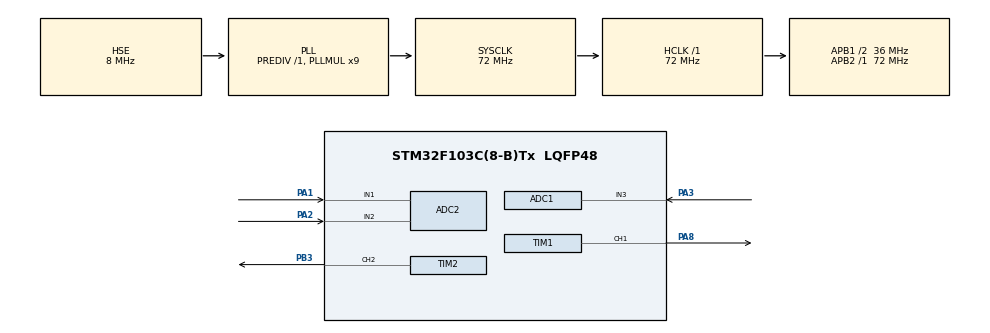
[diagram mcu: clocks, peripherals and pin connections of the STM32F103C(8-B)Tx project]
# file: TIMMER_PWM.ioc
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ADC1.Channel-1\#ChannelRegularConversion=ADC_CHANNEL_3
ADC1.ContinuousConvMode=ENABLE
ADC1.NbrOfConversionFlag=1
ADC1.Rank-1\#ChannelRegularConversion=1
ADC1.SamplingTime-1\#ChannelRegularConversion=ADC_SAMPLETIME_1CYCLE_5
ADC1.master=1
ADC2.Channel-1\#ChannelRegularConversion=ADC_CHANNEL_1
ADC2.ContinuousConvMode=ENABLE
ADC2.NbrOfConversionFlag=1
ADC2.Rank-1\#ChannelRegularConversion=1
ADC2.SamplingTime-1\#ChannelRegularConversion=ADC_SAMPLETIME_1CYCLE_5
Mcu.Family=STM32F1
Mcu.Name=STM32F103C(8-B)Tx
Mcu.Package=LQFP48
NVIC.ADC1_2_IRQn=true\:0\:0\:false\:false\:true\:true\:true\:true
NVIC.PriorityGroup=NVIC_PRIORITYGROUP_4
NVIC.TIM1_UP_IRQn=true\:0\:0\:false\:false\:true\:true\:true\:true
NVIC.TIM2_IRQn=true\:0\:0\:false\:false\:true\:true\:true\:true
PA1.Signal=ADCx_IN1
PA13.Mode=Serial_Wire
PA13.Signal=SYS_JTMS-SWDIO
PA14.Mode=Serial_Wire
PA14.Signal=SYS_JTCK-SWCLK
PA2.Signal=ADCx_IN2
PA3.Signal=ADCx_IN3
PA8.Signal=S_TIM1_CH1
PB3.Signal=S_TIM2_CH2
PD0-OSC_IN.Mode=HSE-External-Oscillator
PD0-OSC_IN.Signal=RCC_OSC_IN
PD1-OSC_OUT.Mode=HSE-External-Oscillator
PD1-OSC_OUT.Signal=RCC_OSC_OUT
ProjectManager.HeapSize=0x200
ProjectManager.StackSize=0x400
ProjectManager.TargetToolchain=STM32CubeIDE
RCC.AHBFreq_Value=72000000
RCC.APB1CLKDivider=RCC_HCLK_DIV2
RCC.APB1Freq_Value=36000000
RCC.APB1TimFreq_Value=72000000
RCC.APB2Freq_Value=72000000
RCC.APB2TimFreq_Value=72000000
RCC.HCLKFreq_Value=72000000
RCC.PLLMUL=RCC_PLL_MUL9
RCC.PLLSourceVirtual=RCC_PLLSOURCE_HSE
RCC.SYSCLKFreq_VALUE=72000000
RCC.SYSCLKSource=RCC_SYSCLKSOURCE_PLLCLK
RCC.USBFreq_Value=72000000
SH.ADCx_IN1.0=ADC2_IN1,IN1
SH.ADCx_IN2.0=ADC2_IN2,IN2
SH.ADCx_IN3.0=ADC1_IN3,IN3
SH.S_TIM1_CH1.0=TIM1_CH1,PWM Generation1 CH1
SH.S_TIM2_CH2.0=TIM2_CH2,PWM Generation2 CH2
TIM1.AutoReloadPreload=TIM_AUTORELOAD_PRELOAD_ENABLE
TIM1.Channel-PWM\ Generation1\ CH1=TIM_CHANNEL_1
TIM1.OC1Preload_PWM=DISABLE
TIM1.Period=59999
TIM2.AutoReloadPreload=TIM_AUTORELOAD_PRELOAD_ENABLE
TIM2.Channel-PWM\ Generation2\ CH2=TIM_CHANNEL_2
TIM2.OC2Preload_PWM=DISABLE
TIM2.Period=47999
VP_TIM1_VS_ClockSourceINT.Mode=Internal
VP_TIM2_VS_ClockSourceINT.Mode=Internal
board=custom

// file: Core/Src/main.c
/* USER CODE BEGIN Header */
/**
  ******************************************************************************
  * @file           : main.c
  * @brief          : Main program body
  ******************************************************************************
  * @attention
  *
  * Copyright (c) 2022 STMicroelectronics.
  * All rights reserved.
  *
  * This software is licensed under terms that can be found in the LICENSE file
  * in the root directory of this software component.
  * If no LICENSE file comes with this software, it is provided AS-IS.
  *
  ******************************************************************************
  */
/* USER CODE END Header */
#include "main.h"

 ADC_HandleTypeDef hadc1;
ADC_HandleTypeDef hadc2;

TIM_HandleTypeDef htim1;
TIM_HandleTypeDef htim2;

void SystemClock_Config(void);
static void MX_GPIO_Init(void);
static void MX_TIM1_Init(void);
static void MX_TIM2_Init(void);
static void MX_ADC1_Init(void);
static void MX_ADC2_Init(void);

int main(void)
{

  /* MCU Configuration--------------------------------------------------------*/

  /* Reset of all peripherals, Initializes the Flash interface and the Systick. */
  HAL_Init();

  /* Configure the system clock */
  SystemClock_Config();

  /* Initialize all configured peripherals */
  MX_GPIO_Init();
  MX_TIM1_Init();
  MX_TIM2_Init();
  MX_ADC1_Init();
  MX_ADC2_Init();
  /* USER CODE BEGIN 2 */
	uint16_t adc1;
	uint16_t adc2;
	HAL_ADCEx_Calibration_Start(&hadc1);
	HAL_ADC_Start(&hadc1);
	HAL_ADCEx_Calibration_Start(&hadc2);
	HAL_ADC_Start(&hadc2);

  HAL_TIM_Base_Start_IT(&htim1);
  HAL_TIM_Base_Start_IT(&htim2);
  HAL_TIM_PWM_Start(&htim1, TIM_CHANNEL_1);
  HAL_TIM_PWM_Start(&htim2, TIM_CHANNEL_2);

  /* USER CODE END 2 */

  /* Infinite loop */
  while (1)
  {
		adc1 = HAL_ADC_GetValue(&hadc1);
		float cicle1 = (float) adc1 * 1200 / 4095;
		float cicle_show;

		uint32_t p_entera;
		char str_entera[6];
		p_entera = (uint16_t) cicle1;

		adc1 = HAL_ADC_GetValue(&hadc2);
		float cicle2 = (float) adc2 * 1500 / 4095;

		HAL_Delay(1000);
  }
}

void SystemClock_Config(void)
{
  RCC_OscInitTypeDef RCC_OscInitStruct = {0};
  RCC_ClkInitTypeDef RCC_ClkInitStruct = {0};
  RCC_PeriphCLKInitTypeDef PeriphClkInit = {0};

  /** Initializes the RCC Oscillators according to the specified parameters
  * in the RCC_OscInitTypeDef structure.
  */
  RCC_OscInitStruct.OscillatorType = RCC_OSCILLATORTYPE_HSE;
  RCC_OscInitStruct.HSEState = RCC_HSE_ON;
  RCC_OscInitStruct.HSEPredivValue = RCC_HSE_PREDIV_DIV1;
  RCC_OscInitStruct.HSIState = RCC_HSI_ON;
  RCC_OscInitStruct.PLL.PLLState = RCC_PLL_ON;
  RCC_OscInitStruct.PLL.PLLSource = RCC_PLLSOURCE_HSE;
  RCC_OscInitStruct.PLL.PLLMUL = RCC_PLL_MUL9;
  if (HAL_RCC_OscConfig(&RCC_OscInitStruct) != HAL_OK)
  {
    Error_Handler();
  }

  /** Initializes the CPU, AHB and APB buses clocks
  */
  RCC_ClkInitStruct.ClockType = RCC_CLOCKTYPE_HCLK|RCC_CLOCKTYPE_SYSCLK
                              |RCC_CLOCKTYPE_PCLK1|RCC_CLOCKTYPE_PCLK2;
  RCC_ClkInitStruct.SYSCLKSource = RCC_SYSCLKSOURCE_PLLCLK;
  RCC_ClkInitStruct.AHBCLKDivider = RCC_SYSCLK_DIV1;
  RCC_ClkInitStruct.APB1CLKDivider = RCC_HCLK_DIV2;
  RCC_ClkInitStruct.APB2CLKDivider = RCC_HCLK_DIV1;

  if (HAL_RCC_ClockConfig(&RCC_ClkInitStruct, FLASH_LATENCY_2) != HAL_OK)
  {
    Error_Handler();
  }
  PeriphClkInit.PeriphClockSelection = RCC_PERIPHCLK_ADC;
  PeriphClkInit.AdcClockSelection = RCC_ADCPCLK2_DIV2;
  if (HAL_RCCEx_PeriphCLKConfig(&PeriphClkInit) != HAL_OK)
  {
    Error_Handler();
  }
}

static void MX_ADC1_Init(void)
{

  ADC_ChannelConfTypeDef sConfig = {0};

  /** Common config
  */
  hadc1.Instance = ADC1;
  hadc1.Init.ScanConvMode = ADC_SCAN_DISABLE;
  hadc1.Init.ContinuousConvMode = ENABLE;
  hadc1.Init.DiscontinuousConvMode = DISABLE;
  hadc1.Init.ExternalTrigConv = ADC_SOFTWARE_START;
  hadc1.Init.DataAlign = ADC_DATAALIGN_RIGHT;
  hadc1.Init.NbrOfConversion = 1;
  if (HAL_ADC_Init(&hadc1) != HAL_OK)
  {
    Error_Handler();
  }

  /** Configure Regular Channel
  */
  sConfig.Channel = ADC_CHANNEL_3;
  sConfig.Rank = ADC_REGULAR_RANK_1;
  sConfig.SamplingTime = ADC_SAMPLETIME_1CYCLE_5;
  if (HAL_ADC_ConfigChannel(&hadc1, &sConfig) != HAL_OK)
  {
    Error_Handler();
  }

}

static void MX_ADC2_Init(void)
{

  ADC_ChannelConfTypeDef sConfig = {0};

  /** Common config
  */
  hadc2.Instance = ADC2;
  hadc2.Init.ScanConvMode = ADC_SCAN_DISABLE;
  hadc2.Init.ContinuousConvMode = ENABLE;
  hadc2.Init.DiscontinuousConvMode = DISABLE;
  hadc2.Init.ExternalTrigConv = ADC_SOFTWARE_START;
  hadc2.Init.DataAlign = ADC_DATAALIGN_RIGHT;
  hadc2.Init.NbrOfConversion = 1;
  if (HAL_ADC_Init(&hadc2) != HAL_OK)
  {
    Error_Handler();
  }

  /** Configure Regular Channel
  */
  sConfig.Channel = ADC_CHANNEL_1;
  sConfig.Rank = ADC_REGULAR_RANK_1;
  sConfig.SamplingTime = ADC_SAMPLETIME_1CYCLE_5;
  if (HAL_ADC_ConfigChannel(&hadc2, &sConfig) != HAL_OK)
  {
    Error_Handler();
  }

}

static void MX_TIM1_Init(void)
{

  TIM_ClockConfigTypeDef sClockSourceConfig = {0};
  TIM_MasterConfigTypeDef sMasterConfig = {0};
  TIM_OC_InitTypeDef sConfigOC = {0};
  TIM_BreakDeadTimeConfigTypeDef sBreakDeadTimeConfig = {0};

  htim1.Instance = TIM1;
  htim1.Init.Prescaler = 0;
  htim1.Init.CounterMode = TIM_COUNTERMODE_UP;
  htim1.Init.Period = 59999;
  htim1.Init.ClockDivision = TIM_CLOCKDIVISION_DIV1;
  htim1.Init.RepetitionCounter = 0;
  htim1.Init.AutoReloadPreload = TIM_AUTORELOAD_PRELOAD_ENABLE;
  if (HAL_TIM_Base_Init(&htim1) != HAL_OK)
  {
    Error_Handler();
  }
  sClockSourceConfig.ClockSource = TIM_CLOCKSOURCE_INTERNAL;
  if (HAL_TIM_ConfigClockSource(&htim1, &sClockSourceConfig) != HAL_OK)
  {
    Error_Handler();
  }
  if (HAL_TIM_PWM_Init(&htim1) != HAL_OK)
  {
    Error_Handler();
  }
  sMasterConfig.MasterOutputTrigger = TIM_TRGO_RESET;
  sMasterConfig.MasterSlaveMode = TIM_MASTERSLAVEMODE_DISABLE;
  if (HAL_TIMEx_MasterConfigSynchronization(&htim1, &sMasterConfig) != HAL_OK)
  {
    Error_Handler();
  }
  sConfigOC.OCMode = TIM_OCMODE_PWM1;
  sConfigOC.Pulse = 0;
  sConfigOC.OCPolarity = TIM_OCPOLARITY_HIGH;
  sConfigOC.OCNPolarity = TIM_OCNPOLARITY_HIGH;
  sConfigOC.OCFastMode = TIM_OCFAST_DISABLE;
  sConfigOC.OCIdleState = TIM_OCIDLESTATE_RESET;
  sConfigOC.OCNIdleState = TIM_OCNIDLESTATE_RESET;
  if (HAL_TIM_PWM_ConfigChannel(&htim1, &sConfigOC, TIM_CHANNEL_1) != HAL_OK)
  {
    Error_Handler();
  }
  __HAL_TIM_DISABLE_OCxPRELOAD(&htim1, TIM_CHANNEL_1);
  sBreakDeadTimeConfig.OffStateRunMode = TIM_OSSR_DISABLE;
  sBreakDeadTimeConfig.OffStateIDLEMode = TIM_OSSI_DISABLE;
  sBreakDeadTimeConfig.LockLevel = TIM_LOCKLEVEL_OFF;
  sBreakDeadTimeConfig.DeadTime = 0;
  sBreakDeadTimeConfig.BreakState = TIM_BREAK_DISABLE;
  sBreakDeadTimeConfig.BreakPolarity = TIM_BREAKPOLARITY_HIGH;
  sBreakDeadTimeConfig.AutomaticOutput = TIM_AUTOMATICOUTPUT_DISABLE;
  if (HAL_TIMEx_ConfigBreakDeadTime(&htim1, &sBreakDeadTimeConfig) != HAL_OK)
  {
    Error_Handler();
  }
  HAL_TIM_MspPostInit(&htim1);

}

static void MX_TIM2_Init(void)
{

  TIM_ClockConfigTypeDef sClockSourceConfig = {0};
  TIM_MasterConfigTypeDef sMasterConfig = {0};
  TIM_OC_InitTypeDef sConfigOC = {0};

  htim2.Instance = TIM2;
  htim2.Init.Prescaler = 0;
  htim2.Init.CounterMode = TIM_COUNTERMODE_UP;
  htim2.Init.Period = 47999;
  htim2.Init.ClockDivision = TIM_CLOCKDIVISION_DIV1;
  htim2.Init.AutoReloadPreload = TIM_AUTORELOAD_PRELOAD_ENABLE;
  if (HAL_TIM_Base_Init(&htim2) != HAL_OK)
  {
    Error_Handler();
  }
  sClockSourceConfig.ClockSource = TIM_CLOCKSOURCE_INTERNAL;
  if (HAL_TIM_ConfigClockSource(&htim2, &sClockSourceConfig) != HAL_OK)
  {
    Error_Handler();
  }
  if (HAL_TIM_PWM_Init(&htim2) != HAL_OK)
  {
    Error_Handler();
  }
  sMasterConfig.MasterOutputTrigger = TIM_TRGO_RESET;
  sMasterConfig.MasterSlaveMode = TIM_MASTERSLAVEMODE_DISABLE;
  if (HAL_TIMEx_MasterConfigSynchronization(&htim2, &sMasterConfig) != HAL_OK)
  {
    Error_Handler();
  }
  sConfigOC.OCMode = TIM_OCMODE_PWM1;
  sConfigOC.Pulse = 0;
  sConfigOC.OCPolarity = TIM_OCPOLARITY_HIGH;
  sConfigOC.OCFastMode = TIM_OCFAST_DISABLE;
  if (HAL_TIM_PWM_ConfigChannel(&htim2, &sConfigOC, TIM_CHANNEL_2) != HAL_OK)
  {
    Error_Handler();
  }
  __HAL_TIM_DISABLE_OCxPRELOAD(&htim2, TIM_CHANNEL_2);
  HAL_TIM_MspPostInit(&htim2);

}

static void MX_GPIO_Init(void)
{

  /* GPIO Ports Clock Enable */
  __HAL_RCC_GPIOD_CLK_ENABLE();
  __HAL_RCC_GPIOA_CLK_ENABLE();
  __HAL_RCC_GPIOB_CLK_ENABLE();

}

/* USER CODE BEGIN 4 */
void HAL_TIM_PeriodElapsedCallback(TIM_HandleTypeDef *htim)
{
	if (htim->Instance == TIM1)
		{
		TIM1->CCR1=TIM1->CCR1+cicle1;
			if (TIM1->CCR1>35999)
				TIM1->CCR1=0;
		}
	if (htim->Instance == TIM2)
	{
		TIM2->CCR2=TIM2->CCR2+cicle2;
		if (TIM2->CCR2>47999)
			TIM2->CCR2=0;
	}
}

/* USER CODE END 4 */

void Error_Handler(void)
{
  __disable_irq();
  while (1)
  {
  }
}
